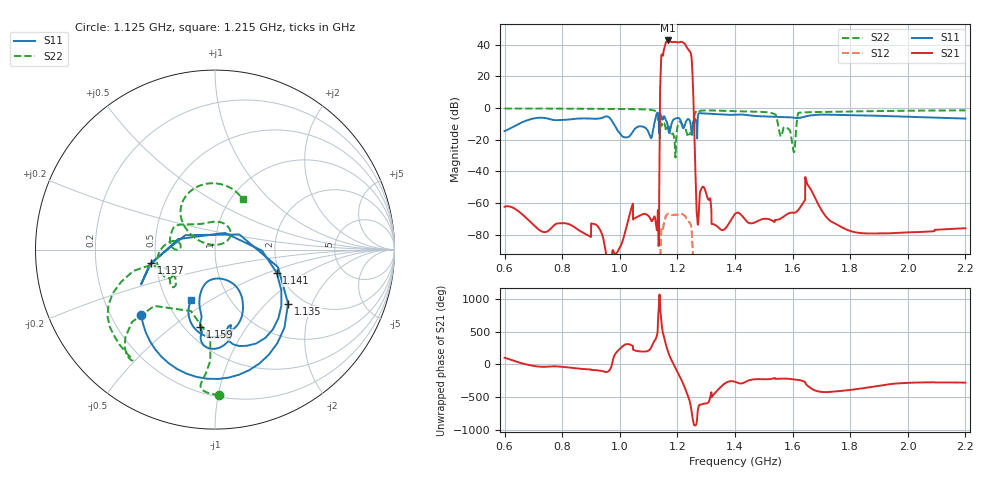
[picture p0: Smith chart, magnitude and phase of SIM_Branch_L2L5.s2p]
! Project 16: GNSS L1 + L2/L5 active antenna front end (RFMW-ANT)
! Generated by Scripts/simulate.py from Scripts/ds_data.py; format GHz / RI, Z0 = 50 ohm
! SIMULATED branch: L2/L5 virtual RHCP input -> RF out (L1 port of DXP in 50 ohm)
# GHz S RI R 50.0
!freq ReS11 ImS11 ReS21 ImS21 ReS12 ImS12 ReS22 ImS22
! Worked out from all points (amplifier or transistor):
!   3201 points, 600 MHz to 2.2 GHz, reference 50 ohm
!   highest |S21| = 42.7 dB at 1.168 GHz (marker M1)
!   |S21| within 3 dB of that: 1.158 GHz to 1.229 GHz (71.34 MHz wide, 5.98 % of centre)
!   unconditionally stable (mu >= 1): start of sweep to end of sweep
!   at 866.5 MHz: K = 1223224034133.20, MAG = -120.0 dB, |S12| = -192.2 dB
!   at 1.4 GHz: K = 113224535913.72, MAG = -120.0 dB, |S12| = -172.9 dB
!   at 2.2 GHz: K = 288228585468.01, MAG = -120.0 dB, |S12| = -172.1 dB
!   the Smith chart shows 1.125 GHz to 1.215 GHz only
!   S11 on the Smith chart (normalised r, x): 1.125 GHz: 0.33, -0.34; 1.135 GHz: 1.68, -1.36; 1.137 GHz: 0.47, -0.08; 1.141 GHz: 1.94, -0.58; 1.159 GHz: 0.60, -0.63; 1.215 GHz: 0.66, -0.41
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0.6  -0.146 0.1185  -0.00012 0.00075  -6.82e-10 -6.76e-10  -0.025 0.9628
0.867  0.4101 0.227  3.96e-05 -0.000116  -1.89e-11 2.43e-10  0.2574 0.9157
1.1255  -0.4105 -0.3656  0.000166 0.000121  -4.07e-10 -4.89e-10  0.0239 -0.8104
1.1335  0.2997 -0.5859  0.000131 9.12e-05  -3.24e-10 -3.84e-10  -0.4624 -0.403
1.135  0.407 -0.301  -1.52e-05 4.09e-05  7.96e-11 -1.12e-10  -0.4949 -0.5772
1.137  -0.3546 -0.072  0.00261 -0.00155  -9.28e-09 2.54e-09  -0.4586 -0.6155
1.1405  0.3441 -0.129  -3.292 4.396  1.39e-05 -1.06e-05  -0.5985 -0.3746
1.1495  0.0894 -0.4271  -24.05 40.29  0.000112 -0.000103  -0.2405 -0.1397
1.159  -0.0821 -0.43  90.19 -67.1  -0.00035 0.000121  -0.2184 0.0481
1.168  -0.0669 -0.2088  -135.8 -14.29  0.000416 0.000189  -0.2474 0.0787
1.177  0.1266 -0.217  6.658 124.6  0.000119 -0.000407  -0.0897 0.1421
1.1865  0.1313 -0.4114  122.2 7.566  -0.000387 -0.000171  0.08 0.117
1.1985  0.0258 -0.4809  -21.45 -117.5  -8.1e-05 0.000414  -0.1627 0.1185
1.207  -0.0953 -0.4569  -118.3 -17.3  0.000369 0.000218  -0.0634 0.3635
1.215  -0.1315 -0.2812  -48.32 114.1  0.000324 -0.000313  0.1533 0.2802
1.2245  0.0347 -0.2629  104.4 30.54  -0.000307 -0.000261  0.2089 0.1334
1.2335  -0.00885 -0.4245  7.825 -80.41  -0.000154 0.000262  0.1506 0.0134
1.249  -0.0722 -0.1485  39.42 3.923  -0.000129 -8.17e-05  0.1523 0.00617
1.4  -0.2892 -0.5432  -1.06e-05 0.000448  1.54e-09 -1.65e-09  0.1963 -0.7696
1.667  -0.5884 -0.0567  0.00221 -0.000714  -1.27e-08 -1.23e-08  -0.3011 0.679
1.9335  -0.4559 0.3135  6.62e-05 8.78e-05  8.21e-10 -9.05e-10  -0.7589 0.2866
2.2  -0.1833 0.4276  3.15e-05 0.000156  2.48e-09 -2.23e-10  -0.4402 0.7176
